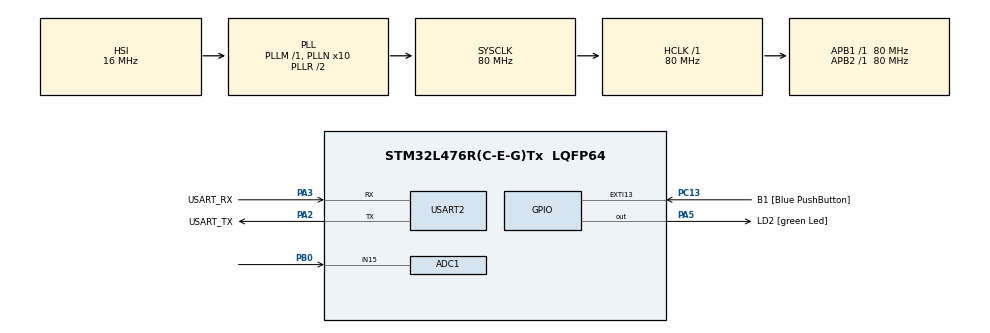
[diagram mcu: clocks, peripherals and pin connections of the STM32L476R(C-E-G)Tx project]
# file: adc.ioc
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ADC1.Channel-0\#ChannelRegularConversion=ADC_CHANNEL_15
ADC1.ContinuousConvMode=DISABLE
ADC1.NbrOfConversionFlag=1
ADC1.OffsetNumber-0\#ChannelRegularConversion=ADC_OFFSET_NONE
ADC1.Rank-0\#ChannelRegularConversion=1
ADC1.SamplingTime-0\#ChannelRegularConversion=ADC_SAMPLETIME_92CYCLES_5
ADC1.master=1
Mcu.Family=STM32L4
Mcu.Name=STM32L476R(C-E-G)Tx
Mcu.Package=LQFP64
NVIC.ADC1_2_IRQn=true\:0\:0\:false\:false\:true\:true\:true
NVIC.PriorityGroup=NVIC_PRIORITYGROUP_4
PA13\ (JTMS-SWDIO).GPIO_Label=TMS
PA13\ (JTMS-SWDIO).Mode=Serial_Wire
PA13\ (JTMS-SWDIO).Signal=SYS_JTMS-SWDIO
PA14\ (JTCK-SWCLK).GPIO_Label=TCK
PA14\ (JTCK-SWCLK).Mode=Serial_Wire
PA14\ (JTCK-SWCLK).Signal=SYS_JTCK-SWCLK
PA2.GPIO_Label=USART_TX
PA2.GPIO_Mode=GPIO_MODE_AF_PP
PA2.GPIO_PuPd=GPIO_NOPULL
PA2.GPIO_Speed=GPIO_SPEED_FREQ_VERY_HIGH
PA2.Mode=Asynchronous
PA2.Signal=USART2_TX
PA3.GPIO_Label=USART_RX
PA3.GPIO_Mode=GPIO_MODE_AF_PP
PA3.GPIO_PuPd=GPIO_NOPULL
PA3.GPIO_Speed=GPIO_SPEED_FREQ_VERY_HIGH
PA3.Mode=Asynchronous
PA3.Signal=USART2_RX
PA5.GPIO_Label=LD2 [green Led]
PA5.GPIO_ModeDefaultOutputPP=GPIO_MODE_OUTPUT_PP
PA5.GPIO_PuPd=GPIO_NOPULL
PA5.GPIO_Speed=GPIO_SPEED_FREQ_LOW
PA5.Signal=GPIO_Output
PB0.Signal=ADCx_IN15
PB3\ (JTDO-TRACESWO).GPIO_Label=SWO
PB3\ (JTDO-TRACESWO).Signal=SYS_JTDO-SWO
PC13.GPIO_Label=B1 [Blue PushButton]
PC13.GPIO_ModeDefaultEXTI=GPIO_MODE_IT_FALLING
PC13.GPIO_PuPd=GPIO_NOPULL
PC13.Signal=GPXTI13
PC14-OSC32_IN\ (PC14).Mode=LSE-External-Oscillator
PC14-OSC32_IN\ (PC14).Signal=RCC_OSC32_IN
PC15-OSC32_OUT\ (PC15).Mode=LSE-External-Oscillator
PC15-OSC32_OUT\ (PC15).Signal=RCC_OSC32_OUT
PH0-OSC_IN\ (PH0).Signal=RCC_OSC_IN
PH1-OSC_OUT\ (PH1).Signal=RCC_OSC_OUT
ProjectManager.HeapSize=0x200
ProjectManager.StackSize=0x400
ProjectManager.TargetToolchain=STM32CubeIDE
RCC.ADCFreq_Value=64000000
RCC.AHBFreq_Value=80000000
RCC.APB1Freq_Value=80000000
RCC.APB1TimFreq_Value=80000000
RCC.APB2Freq_Value=80000000
RCC.APB2TimFreq_Value=80000000
RCC.CortexFreq_Value=80000000
RCC.HCLKFreq_Value=80000000
RCC.HSE_VALUE=8000000
RCC.HSI_VALUE=16000000
RCC.MSI_VALUE=4000000
RCC.PLLN=10
RCC.PLLSourceVirtual=RCC_PLLSOURCE_HSI
RCC.PREFETCH_ENABLE=1
RCC.SYSCLKFreq_VALUE=80000000
RCC.SYSCLKSource=RCC_SYSCLKSOURCE_PLLCLK
RCC.USBFreq_Value=64000000
RCC.VCOOutputFreq_Value=160000000
SH.ADCx_IN15.0=ADC1_IN15,IN15-Single-Ended
USART2.VirtualMode-Asynchronous=VM_ASYNC
board=NUCLEO-L476RG

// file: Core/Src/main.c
/* USER CODE BEGIN Header */
/**
  ******************************************************************************
  * @file           : main.c
  * @brief          : Main program body
  ******************************************************************************
  * @attention
  *
  * <h2><center>&copy; Copyright (c) 2024 STMicroelectronics.
  * All rights reserved.</center></h2>
  *
  * This software component is licensed by ST under BSD 3-Clause license,
  * the "License"; You may not use this file except in compliance with the
  * License. You may obtain a copy of the License at:
  *                        opensource.org/licenses/BSD-3-Clause
  *
  ******************************************************************************
  */
/* USER CODE END Header */
#include "main.h"
#include "adc.h"
#include "usart.h"
#include "gpio.h"

/* USER CODE BEGIN Includes */
#include <stdio.h>
/* USER CODE END Includes */

/* USER CODE BEGIN PV */
uint8_t adc_flag = 0;
uint16_t adc_value;
/* USER CODE END PV */

void SystemClock_Config(void);

/* USER CODE BEGIN 0 */
void HAL_ADC_ConvCpltCallback(ADC_HandleTypeDef *hadc){
	if(hadc == &hadc1){
		adc_flag = 1;
		adc_value = HAL_ADC_GetValue(hadc);
	}
}

/**
 * @brief function for printing using UART
 */
int _write(int file, char* ptr, int len){
	HAL_UART_Transmit(&huart2, (uint8_t *)ptr, len, HAL_MAX_DELAY);
	return len;
}
/* USER CODE END 0 */

int main(void)
{

  /* MCU Configuration--------------------------------------------------------*/

  /* Reset of all peripherals, Initializes the Flash interface and the Systick. */
  HAL_Init();

  /* Configure the system clock */
  SystemClock_Config();

  /* Initialize all configured peripherals */
  MX_GPIO_Init();
  MX_USART2_UART_Init();
  MX_ADC1_Init();
  /* USER CODE BEGIN 2 */
  HAL_ADC_Start_IT(&hadc1);
  /* USER CODE END 2 */

  /* Infinite loop */
  /* USER CODE BEGIN WHILE */
  while (1){
	if (adc_flag == 1){
		printf("Measured value: %d\r\n", adc_value);
		adc_flag = 0;

		HAL_ADC_Start_IT(&hadc1);
	}
	HAL_Delay(1000);
    /* USER CODE END WHILE */

  }
}

void SystemClock_Config(void)
{
  RCC_OscInitTypeDef RCC_OscInitStruct = {0};
  RCC_ClkInitTypeDef RCC_ClkInitStruct = {0};
  RCC_PeriphCLKInitTypeDef PeriphClkInit = {0};

  /** Initializes the RCC Oscillators according to the specified parameters
  * in the RCC_OscInitTypeDef structure.
  */
  RCC_OscInitStruct.OscillatorType = RCC_OSCILLATORTYPE_HSI;
  RCC_OscInitStruct.HSIState = RCC_HSI_ON;
  RCC_OscInitStruct.HSICalibrationValue = RCC_HSICALIBRATION_DEFAULT;
  RCC_OscInitStruct.PLL.PLLState = RCC_PLL_ON;
  RCC_OscInitStruct.PLL.PLLSource = RCC_PLLSOURCE_HSI;
  RCC_OscInitStruct.PLL.PLLM = 1;
  RCC_OscInitStruct.PLL.PLLN = 10;
  RCC_OscInitStruct.PLL.PLLP = RCC_PLLP_DIV7;
  RCC_OscInitStruct.PLL.PLLQ = RCC_PLLQ_DIV2;
  RCC_OscInitStruct.PLL.PLLR = RCC_PLLR_DIV2;
  if (HAL_RCC_OscConfig(&RCC_OscInitStruct) != HAL_OK)
  {
    Error_Handler();
  }
  /** Initializes the CPU, AHB and APB buses clocks
  */
  RCC_ClkInitStruct.ClockType = RCC_CLOCKTYPE_HCLK|RCC_CLOCKTYPE_SYSCLK
                              |RCC_CLOCKTYPE_PCLK1|RCC_CLOCKTYPE_PCLK2;
  RCC_ClkInitStruct.SYSCLKSource = RCC_SYSCLKSOURCE_PLLCLK;
  RCC_ClkInitStruct.AHBCLKDivider = RCC_SYSCLK_DIV1;
  RCC_ClkInitStruct.APB1CLKDivider = RCC_HCLK_DIV1;
  RCC_ClkInitStruct.APB2CLKDivider = RCC_HCLK_DIV1;

  if (HAL_RCC_ClockConfig(&RCC_ClkInitStruct, FLASH_LATENCY_4) != HAL_OK)
  {
    Error_Handler();
  }
  PeriphClkInit.PeriphClockSelection = RCC_PERIPHCLK_USART2|RCC_PERIPHCLK_ADC;
  PeriphClkInit.Usart2ClockSelection = RCC_USART2CLKSOURCE_PCLK1;
  PeriphClkInit.AdcClockSelection = RCC_ADCCLKSOURCE_PLLSAI1;
  PeriphClkInit.PLLSAI1.PLLSAI1Source = RCC_PLLSOURCE_HSI;
  PeriphClkInit.PLLSAI1.PLLSAI1M = 1;
  PeriphClkInit.PLLSAI1.PLLSAI1N = 8;
  PeriphClkInit.PLLSAI1.PLLSAI1P = RCC_PLLP_DIV7;
  PeriphClkInit.PLLSAI1.PLLSAI1Q = RCC_PLLQ_DIV2;
  PeriphClkInit.PLLSAI1.PLLSAI1R = RCC_PLLR_DIV2;
  PeriphClkInit.PLLSAI1.PLLSAI1ClockOut = RCC_PLLSAI1_ADC1CLK;
  if (HAL_RCCEx_PeriphCLKConfig(&PeriphClkInit) != HAL_OK)
  {
    Error_Handler();
  }
  /** Configure the main internal regulator output voltage
  */
  if (HAL_PWREx_ControlVoltageScaling(PWR_REGULATOR_VOLTAGE_SCALE1) != HAL_OK)
  {
    Error_Handler();
  }
}

void Error_Handler(void)
{
}

/************************ (C) COPYRIGHT STMicroelectronics *****END OF FILE****/
